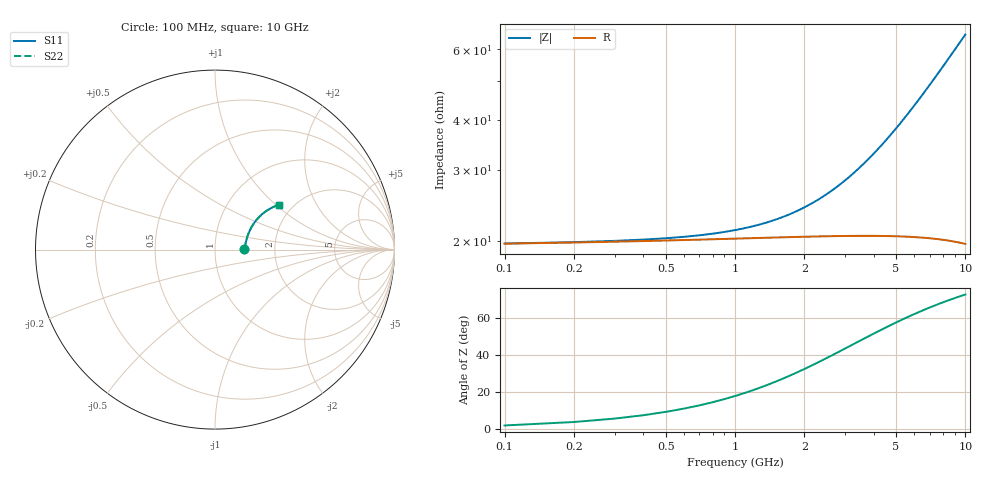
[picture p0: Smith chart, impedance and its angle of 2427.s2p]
# Hz S RI R 50.00
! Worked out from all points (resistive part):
!   100 points, 100 MHz to 10 GHz, reference 50 ohm
!   read as one part in series: R = 19.6 ohm at 100 MHz
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1e8  0.1642 0.00359  0.8358 -0.00542  0.8358 -0.00542  0.1642 0.00359
6e8  0.1679 0.0213  0.832 -0.0323  0.832 -0.0323  0.1679 0.0213
1e9  0.1706 0.0353  0.8292 -0.0536  0.8292 -0.0536  0.1706 0.0353
1.4e9  0.1737 0.0491  0.8259 -0.0748  0.8259 -0.0748  0.1737 0.0491
1.8e9  0.1773 0.0628  0.822 -0.0957  0.822 -0.0957  0.1773 0.0628
2.1e9  0.1805 0.0728  0.8187 -0.1113  0.8187 -0.1113  0.1805 0.0728
2.4e9  0.1839 0.0827  0.815 -0.1267  0.815 -0.1267  0.1839 0.0827
2.9e9  0.1904 0.0989  0.8081 -0.152  0.8081 -0.152  0.1904 0.0989
3.4e9  0.1978 0.1145  0.8001 -0.1768  0.8001 -0.1768  0.1978 0.1145
4.2e9  0.2114 0.1382  0.7853 -0.2152  0.7853 -0.2152  0.2114 0.1382
4.7e9  0.221 0.1522  0.7749 -0.2384  0.7749 -0.2384  0.221 0.1522
5.1e9  0.2292 0.1628  0.766 -0.2564  0.766 -0.2564  0.2292 0.1628
5.5e9  0.2379 0.1729  0.7566 -0.2739  0.7566 -0.2739  0.2379 0.1729
5.9e9  0.247 0.1826  0.7466 -0.2909  0.7466 -0.2909  0.247 0.1826
6.3e9  0.2564 0.1916  0.7363 -0.3074  0.7363 -0.3074  0.2564 0.1916
6.7e9  0.2662 0.2002  0.7255 -0.3234  0.7255 -0.3234  0.2662 0.2002
7.1e9  0.2763 0.2082  0.7144 -0.3388  0.7144 -0.3388  0.2763 0.2082
7.5e9  0.2867 0.2156  0.7029 -0.3537  0.7029 -0.3537  0.2867 0.2156
7.9e9  0.2974 0.2225  0.6911 -0.368  0.6911 -0.368  0.2974 0.2225
8.4e9  0.311 0.2303  0.676 -0.3852  0.676 -0.3852  0.311 0.2303
9.2e9  0.3332 0.2409  0.6511 -0.4108  0.6511 -0.4108  0.3332 0.2409
1e10  0.3559 0.2493  0.6255 -0.4342  0.6255 -0.4342  0.3559 0.2493
